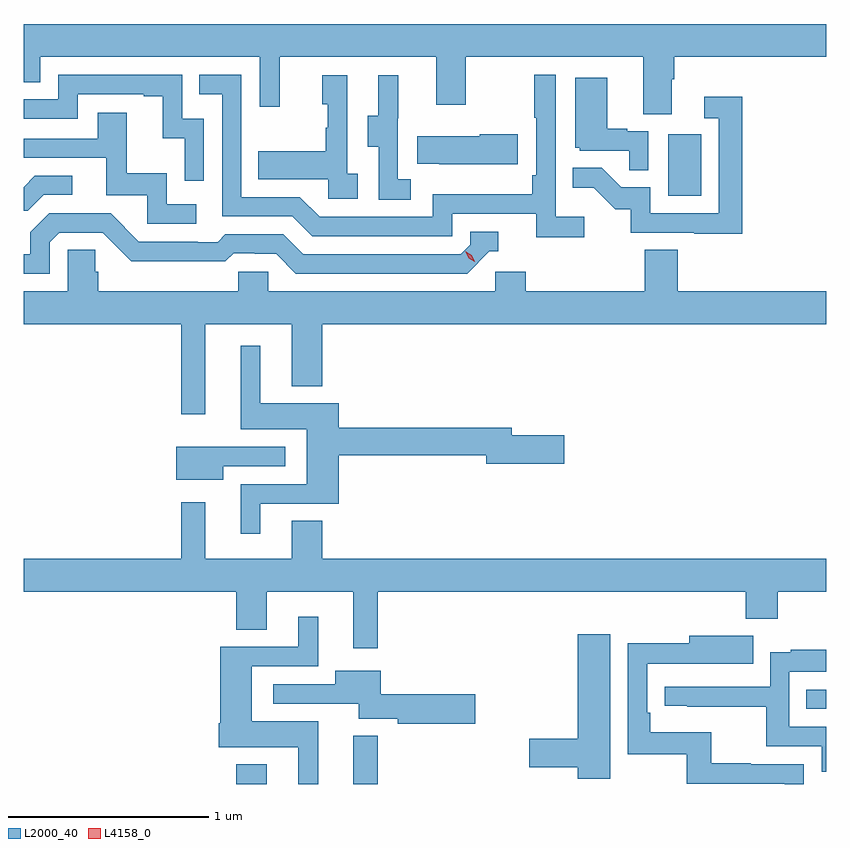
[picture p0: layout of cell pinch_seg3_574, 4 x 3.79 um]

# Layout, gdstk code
import gdstk
lib = gdstk.Library(unit=1e-6, precision=1e-09)
def R(c, l, rs):  # rectangles x0, y0, x1, y1
    for r in rs: c.add(gdstk.rectangle(r[:2], r[2:], *l))
def P(c, l, *ps):  # polygons
    for p in ps: c.add(gdstk.Polygon(p, *l))
L2000_40 = (2000, 40)
L4158_0 = (4158, 0)

pinch_seg3_574 = lib.new_cell('pinch_seg3_574')
R(pinch_seg3_574, L2000_40, [(1056.317,690.634,1056.469,690.733), (1056.899,690.634,1057.021,690.874), (1059.157,691.008,1059.257,691.104), (1058.468,693.564,1058.632,693.871)])
P(pinch_seg3_574, L2000_40, [(1055.257,694.129),(1055.34,694.129),(1055.34,694.256),(1056.435,694.256),(1056.435,694.008),(1056.533,694.008),(1056.533,694.256),(1057.313,694.256),(1057.313,694.017),(1057.461,694.017),(1057.461,694.256),(1058.345,694.256),(1058.345,693.97),(1058.485,693.97),(1058.485,694.144),(1058.498,694.144),(1058.498,694.256),(1059.257,694.256),(1059.257,694.42),(1055.257,694.42)],
  [(1058.05,693.46),(1057.908,693.46),(1057.908,694.168),(1057.8,694.168),(1057.8,693.952),(1057.812,693.952),(1057.812,693.667),(1057.792,693.667),(1057.792,693.571),(1057.296,693.571),(1057.296,693.459),(1056.732,693.459),(1056.633,693.558),(1056.342,693.558),(1056.342,694.167),(1056.133,694.167),(1056.133,694.071),(1056.246,694.071),(1056.246,693.462),(1056.596,693.462),(1056.695,693.363),(1057.392,693.363),(1057.392,693.474),(1057.811,693.474),(1057.811,693.358),(1058.05,693.358)],
  [(1056.156,693.948),(1056.048,693.948),(1056.048,694.167),(1055.43,694.167),(1055.43,694.044),(1055.257,694.044),(1055.257,693.948),(1055.526,693.948),(1055.526,694.071),(1055.855,694.071),(1055.855,694.059),(1055.951,694.059),(1055.951,693.851),(1056.06,693.851),(1056.06,693.639),(1056.156,693.639)],
  [(1057.186,693.647),(1057.122,693.647),(1057.122,693.951),(1057.124,693.951),(1057.124,694.165),(1057.025,694.165),(1057.025,693.963),(1056.971,693.963),(1056.971,693.808),(1057.026,693.808),(1057.026,693.544),(1057.186,693.544)],
  [(1056.922,693.674),(1056.87,693.674),(1056.87,694.165),(1056.746,694.165),(1056.746,694.02),(1056.772,694.02),(1056.772,693.902),(1056.762,693.902),(1056.762,693.787),(1056.427,693.787),(1056.427,693.647),(1056.774,693.647),(1056.774,693.549),(1056.922,693.549)],
  [(1058.37,693.885),(1058.264,693.885),(1058.264,693.898),(1058.164,693.898),(1058.164,694.153),(1058.006,694.153),(1058.006,693.804),(1058.028,693.804),(1058.028,693.789),(1058.275,693.789),(1058.275,693.691),(1058.37,693.691)],
  [(1058.837,694.057),(1058.649,694.057),(1058.649,693.951),(1058.721,693.951),(1058.721,693.477),(1058.379,693.477),(1058.379,693.606),(1058.235,693.606),(1058.137,693.704),(1057.993,693.704),(1057.993,693.605),(1058.097,693.605),(1058.204,693.498),(1058.281,693.498),(1058.281,693.381),(1058.599,693.381),(1058.599,693.376),(1058.837,693.376)],
  [(1056.118,693.522),(1055.97,693.522),(1055.97,693.676),(1055.771,693.676),(1055.771,693.979),(1055.627,693.979),(1055.627,693.849),(1055.257,693.849),(1055.257,693.753),(1055.669,693.753),(1055.669,693.567),(1055.874,693.567),(1055.874,693.426),(1056.118,693.426)],
  [(1057.72,693.87),(1057.529,693.87),(1057.529,693.862),(1057.219,693.862),(1057.219,693.725),(1057.327,693.725),(1057.327,693.722),(1057.72,693.722)],
  [(1055.358,693.57),(1055.5,693.57),(1055.5,693.663),(1055.312,693.663),(1055.257,693.608),(1055.257,693.49),(1055.278,693.49)],
  [(1055.388,693.333),(1055.436,693.381),(1055.652,693.381),(1055.794,693.239),(1056.03,693.239),(1056.03,693.237),(1056.263,693.237),(1056.305,693.279),(1056.408,693.279),(1056.408,693.276),(1056.515,693.276),(1056.614,693.177),(1057.467,693.177),(1057.578,693.288),(1057.621,693.288),(1057.621,693.384),(1057.482,693.384),(1057.482,693.321),(1057.434,693.273),(1056.651,693.273),(1056.552,693.372),(1056.263,693.372),(1056.224,693.333),(1056.125,693.333),(1056.125,693.336),(1055.832,693.336),(1055.691,693.477),(1055.385,693.477),(1055.291,693.383),(1055.291,693.273),(1055.257,693.273),(1055.257,693.177),(1055.388,693.177)],
  [(1056.163,692.924),(1056.593,692.924),(1056.593,692.615),(1056.746,692.615),(1056.746,692.924),(1059.257,692.924),(1059.257,693.088),(1058.516,693.088),(1058.516,693.296),(1058.351,693.296),(1058.351,693.088),(1057.76,693.088),(1057.76,693.186),(1057.608,693.186),(1057.608,693.088),(1056.477,693.088),(1056.477,693.186),(1056.327,693.186),(1056.327,693.088),(1055.63,693.088),(1055.63,693.186),(1055.615,693.186),(1055.615,693.296),(1055.478,693.296),(1055.478,693.088),(1055.257,693.088),(1055.257,692.924),(1056.042,692.924),(1056.042,692.475),(1056.163,692.475)],
  [(1056.436,692.031),(1056.827,692.031),(1056.827,692.272),(1057.562,692.272),(1057.562,692.23),(1057.951,692.23),(1057.951,692.372),(1057.69,692.372),(1057.69,692.408),(1056.827,692.408),(1056.827,692.53),(1056.436,692.53),(1056.436,692.818),(1056.338,692.818),(1056.338,692.402),(1056.668,692.402),(1056.668,692.127),(1056.338,692.127),(1056.338,691.881),(1056.436,691.881)],
  [(1056.253,692.217),(1056.562,692.217),(1056.562,692.313),(1056.249,692.313),(1056.249,692.314),(1056.018,692.314),(1056.018,692.15),(1056.253,692.15)],
  [(1056.746,691.946),(1056.593,691.946),(1056.593,691.756),(1056.163,691.756),(1056.163,692.038),(1056.042,692.038),(1056.042,691.756),(1055.257,691.756),(1055.257,691.592),(1056.317,691.592),(1056.317,691.402),(1056.469,691.402),(1056.469,691.592),(1056.899,691.592),(1056.899,691.311),(1057.021,691.311),(1057.021,691.592),(1058.855,691.592),(1058.855,691.457),(1059.015,691.457),(1059.015,691.592),(1059.257,691.592),(1059.257,691.756),(1056.746,691.756)],
  [(1056.724,690.946),(1056.394,690.946),(1056.394,691.221),(1056.724,691.221),(1056.724,691.468),(1056.626,691.468),(1056.626,691.317),(1056.236,691.317),(1056.236,690.936),(1056.23,690.936),(1056.23,690.818),(1056.626,690.818),(1056.626,690.634),(1056.724,690.634)],
  [(1058.179,691.381),(1058.018,691.381),(1058.018,690.86),(1057.776,690.86),(1057.776,690.718),(1058.018,690.718),(1058.018,690.66),(1058.179,690.66)],
  [(1059.144,690.732),(1058.879,690.732),(1058.879,690.737),(1058.683,690.737),(1058.683,690.892),(1058.378,690.892),(1058.378,690.988),(1058.364,690.988),(1058.364,691.233),(1058.677,691.233),(1058.677,691.232),(1058.891,691.232),(1058.891,691.372),(1058.573,691.372),(1058.573,691.334),(1058.268,691.334),(1058.268,690.783),(1058.562,690.783),(1058.562,690.636),(1059.048,690.636),(1059.048,690.634),(1059.144,690.634)],
  [(1059.257,690.918),(1059.072,690.918),(1059.072,691.194),(1059.257,691.194),(1059.257,691.303),(1059.079,691.303),(1059.079,691.291),(1058.976,691.291),(1058.976,691.119),(1058.451,691.119),(1058.451,691.023),(1058.563,691.023),(1058.563,691.018),(1058.956,691.018),(1058.956,690.822),(1059.233,690.822),(1059.233,690.694),(1059.257,690.694)],
  [(1057.507,691.082),(1057.036,691.082),(1057.036,691.198),(1056.809,691.198),(1056.809,691.131),(1056.501,691.131),(1056.501,691.035),(1056.926,691.035),(1056.926,690.959),(1057.122,690.959),(1057.122,690.935),(1057.507,690.935)])
P(pinch_seg3_574, L4158_0, [(1057.505,693.235),(1057.474,693.254),(1057.458,693.287),(1057.458,693.287),(1057.458,693.287),(1057.489,693.268),(1057.505,693.235),(1057.505,693.235)])

lib.write_gds('pinch_seg3_574.gds')
